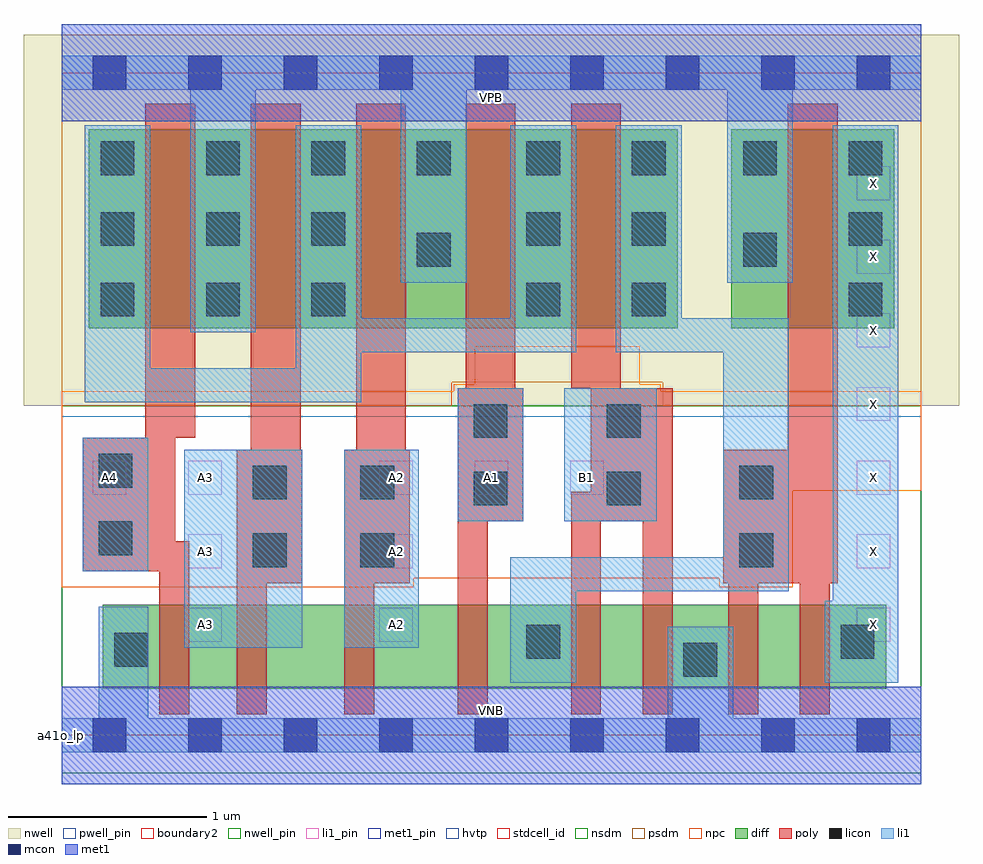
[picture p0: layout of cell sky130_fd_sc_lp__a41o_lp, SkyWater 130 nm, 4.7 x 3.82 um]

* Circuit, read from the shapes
.subckt sky130_fd_sc_lp__a41o_lp A1 A2 A3 A4 B1 VGND VNB VPB VPWR X
XM1 n1 A4 VGND VNB sky130_fd_pr__nfet_01v8 w=0.42 l=0.15
XM2 n2 A3 n1 VNB sky130_fd_pr__nfet_01v8 w=0.42 l=0.15
XM3 n3 A2 n2 VNB sky130_fd_pr__nfet_01v8 w=0.42 l=0.15
XM4 n4 A1 n3 VNB sky130_fd_pr__nfet_01v8 w=0.42 l=0.15
XM5 n5 B1 n4 VNB sky130_fd_pr__nfet_01v8 w=0.42 l=0.15
XM6 VGND B1 n5 VNB sky130_fd_pr__nfet_01v8 w=0.42 l=0.15
XM7 n6 n4 VGND VNB sky130_fd_pr__nfet_01v8 w=0.42 l=0.15
XM8 X n4 n6 VNB sky130_fd_pr__nfet_01v8 w=0.42 l=0.15
XM9 VPWR A4 n7 VPB sky130_fd_pr__pfet_01v8_hvt w=1 l=0.25
XM10 n7 A3 VPWR VPB sky130_fd_pr__pfet_01v8_hvt w=1 l=0.25
XM11 VPWR A2 n7 VPB sky130_fd_pr__pfet_01v8_hvt w=1 l=0.25
XM12 n7 A1 VPWR VPB sky130_fd_pr__pfet_01v8_hvt w=1 l=0.25
XM13 n4 B1 n7 VPB sky130_fd_pr__pfet_01v8_hvt w=1 l=0.25
XM14 X n4 VPWR VPB sky130_fd_pr__pfet_01v8_hvt w=1 l=0.25
.ends

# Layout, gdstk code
import gdstk
lib = gdstk.Library(unit=1e-6, precision=1e-09)
def R(c, l, rs):  # rectangles x0, y0, x1, y1
    for r in rs: c.add(gdstk.rectangle(r[:2], r[2:], *l))
def A(c, l, x, y, w, h, nx, ny, dx, dy):  # array of equal rectangles
    R(c, l, [(x+i*dx, y+j*dy, x+i*dx+w, y+j*dy+h) for i in range(nx) for j in range(ny)])
def P(c, l, *ps):  # polygons
    for p in ps: c.add(gdstk.Polygon(p, *l))
nwell_pin = (64, 16)
nwell = (64, 20)
diff = (65, 20)
poly = (66, 20)
licon = (66, 44)
li1_pin = (67, 16)
li1 = (67, 20)
mcon = (67, 44)
met1_pin = (68, 16)
met1 = (68, 20)
hvtp = (78, 44)
stdcell_id = (81, 4)
nsdm = (93, 44)
psdm = (94, 20)
npc = (95, 20)
pwell_pin = (122, 16)
boundary2 = (236, 0)

sky130_fd_sc_lp__a41o_lp = lib.new_cell('sky130_fd_sc_lp__a41o_lp')
R(sky130_fd_sc_lp__a41o_lp, nwell_pin, [(0,3.085,4.32,3.33)])
R(sky130_fd_sc_lp__a41o_lp, nwell, [(-0.19,1.655,4.51,3.52)])
R(sky130_fd_sc_lp__a41o_lp, diff, [(0.205,0.235,4.145,0.655), (0.135,2.045,3.095,3.045), (3.365,2.045,4.185,3.045)])
P(sky130_fd_sc_lp__a41o_lp, poly, [(0.67,3.175),(0.42,3.175),(0.42,1.495),(0.105,1.495),(0.105,0.825),(0.49,0.825),(0.49,0.105),(0.64,0.105),(0.64,0.975),(0.57,0.975),(0.57,1.495),(0.67,1.495)],
  [(1.21,1.435),(1.2,1.435),(1.2,3.175),(0.95,3.175),(0.95,1.435),(0.88,1.435),(0.88,0.105),(1.03,0.105),(1.03,0.765),(1.21,0.765)],
  [(1.75,1.435),(1.73,1.435),(1.73,3.175),(1.48,3.175),(1.48,1.435),(1.42,1.435),(1.42,0.105),(1.57,0.105),(1.57,0.765),(1.75,0.765)],
  [(2.32,1.745),(2.28,1.745),(2.28,3.175),(2.03,3.175),(2.03,1.745),(1.99,1.745),(1.99,0.105),(2.14,0.105),(2.14,1.075),(2.32,1.075)],
  [(3.07,1.745),(2.81,1.745),(2.81,3.175),(2.56,3.175),(2.56,1.745),(2.66,1.745),(2.66,1.225),(2.56,1.225),(2.56,0.105),(2.71,0.105),(2.71,1.075),(2.92,1.075),(2.92,0.105),(3.07,0.105)],
  [(3.9,3.175),(3.65,3.175),(3.65,1.435),(3.325,1.435),(3.325,0.765),(3.35,0.765),(3.35,0.105),(3.5,0.105),(3.5,0.765),(3.71,0.765),(3.71,0.105),(3.86,0.105),(3.86,0.765),(3.9,0.765)])
A(sky130_fd_sc_lp__a41o_lp, licon, 0.195, 2.105, 0.17, 0.17, 3, 2, 0.53, 0.355)
A(sky130_fd_sc_lp__a41o_lp, licon, 2.335, 2.105, 0.17, 0.17, 1, 3, 0, 0.355)
A(sky130_fd_sc_lp__a41o_lp, licon, 2.865, 2.105, 0.17, 0.17, 1, 3, 0, 0.355)
A(sky130_fd_sc_lp__a41o_lp, licon, 3.955, 2.105, 0.17, 0.17, 1, 3, 0, 0.355)
A(sky130_fd_sc_lp__a41o_lp, licon, 0.195, 2.815, 0.17, 0.17, 4, 1, 0.53, 0)
R(sky130_fd_sc_lp__a41o_lp, licon, [(3.125,0.295,3.295,0.465), (0.265,0.345,0.435,0.515), (2.335,0.385,2.505,0.555), (3.915,0.385,4.085,0.555), (0.96,0.845,1.13,1.015), (1.5,0.845,1.67,1.015), (3.405,0.845,3.575,1.015), (0.185,0.905,0.355,1.075), (2.07,1.155,2.24,1.325), (2.74,1.155,2.91,1.325), (0.96,1.185,1.13,1.355), (1.5,1.185,1.67,1.355), (3.405,1.185,3.575,1.355), (0.185,1.245,0.355,1.415), (2.07,1.495,2.24,1.665), (2.74,1.495,2.91,1.665), (1.785,2.355,1.955,2.525), (3.425,2.355,3.595,2.525), (3.425,2.815,3.595,2.985)])
A(sky130_fd_sc_lp__a41o_lp, li1_pin, 0.635, 0.47, 0.17, 0.17, 1, 3, 0, 0.37)
A(sky130_fd_sc_lp__a41o_lp, li1_pin, 3.995, 0.47, 0.17, 0.17, 1, 7, 0, 0.37)
A(sky130_fd_sc_lp__a41o_lp, li1_pin, 1.595, 1.21, 0.17, 0.17, 3, 1, 0.48, 0)
R(sky130_fd_sc_lp__a41o_lp, li1_pin, [(1.595,0.47,1.765,0.64), (1.595,0.84,1.765,1.01), (0.155,1.21,0.325,1.38)])
R(sky130_fd_sc_lp__a41o_lp, li1, [(0.615,0.44,1.21,1.435), (1.42,0.44,1.795,1.435), (0.105,0.825,0.435,1.495), (1.99,1.075,2.32,1.745), (2.525,1.075,2.99,1.745)])
P(sky130_fd_sc_lp__a41o_lp, li1, [(3.345,2.275),(3.345,3.245),(2.035,3.245),(2.035,2.275),(1.705,2.275),(1.705,3.245),(0.975,3.245),(0.975,2.025),(0.645,2.025),(0.645,3.245),(0,3.245),(0,3.415),(4.32,3.415),(4.32,3.245),(3.675,3.245),(3.675,2.275)],
  [(3.045,0.085),(3.045,0.545),(3.375,0.545),(3.375,0.085),(4.32,0.085),(4.32,-0.085),(0,-0.085),(0,0.085),(0.185,0.085),(0.185,0.645),(0.435,0.645),(0.435,0.085)],
  [(2.255,0.895),(3.325,0.895),(3.325,1.925),(2.785,1.925),(2.785,3.065),(3.115,3.065),(3.115,2.095),(3.655,2.095),(3.655,0.725),(2.585,0.725),(2.585,0.265),(2.255,0.265)],
  [(1.175,1.845),(1.175,3.065),(1.505,3.065),(1.505,2.095),(2.255,2.095),(2.255,3.065),(2.585,3.065),(2.585,1.925),(1.505,1.925),(1.505,1.675),(0.115,1.675),(0.115,3.065),(0.445,3.065),(0.445,1.845)],
  [(3.875,0.675),(3.875,3.065),(4.205,3.065),(4.205,0.265),(3.835,0.265),(3.835,0.675)])
A(sky130_fd_sc_lp__a41o_lp, mcon, 0.155, -0.085, 0.17, 0.17, 9, 2, 0.48, 3.33)
R(sky130_fd_sc_lp__a41o_lp, met1_pin, [(0,0,4.32,0.245), (0,3.085,4.32,3.33)])
R(sky130_fd_sc_lp__a41o_lp, met1, [(0,-0.245,4.32,0.245), (0,3.085,4.32,3.575)])
R(sky130_fd_sc_lp__a41o_lp, hvtp, [(0,1.6,4.32,3.33)])
R(sky130_fd_sc_lp__a41o_lp, stdcell_id, [(0,0,4.32,3.33)])
R(sky130_fd_sc_lp__a41o_lp, nsdm, [(0,-0.19,4.32,1.655)])
P(sky130_fd_sc_lp__a41o_lp, psdm, [(4.32,3.52),(0,3.52),(0,1.655),(1.96,1.655),(1.96,1.775),(3.02,1.775),(3.02,1.655),(4.32,1.655)])
P(sky130_fd_sc_lp__a41o_lp, npc, [(4.32,1.73),(3.01,1.73),(3.01,1.765),(2.905,1.765),(2.905,1.955),(2.075,1.955),(2.075,1.765),(1.97,1.765),(1.97,1.73),(0,1.73),(0,0.745),(1.77,0.745),(1.77,0.79),(3.305,0.79),(3.305,0.745),(3.675,0.745),(3.675,1.23),(4.32,1.23)])
R(sky130_fd_sc_lp__a41o_lp, pwell_pin, [(0,0,4.32,0.245)])
R(sky130_fd_sc_lp__a41o_lp, boundary2, [(0,0,4.32,3.33)])
sky130_fd_sc_lp__a41o_lp.add(gdstk.Label('VNB', (2.16,0.123), layer=64, texttype=59))
sky130_fd_sc_lp__a41o_lp.add(gdstk.Label('VPB', (2.16,3.208), layer=64, texttype=5))
sky130_fd_sc_lp__a41o_lp.add(gdstk.Label('a41o_lp', (0,0), layer=83, texttype=44))
sky130_fd_sc_lp__a41o_lp.add(gdstk.Label('VPWR', (2.16,3.208), layer=68, texttype=5))
sky130_fd_sc_lp__a41o_lp.add(gdstk.Label('VGND', (2.16,0.123), layer=68, texttype=5))
sky130_fd_sc_lp__a41o_lp.add(gdstk.Label('B1', (2.64,1.295), layer=67, texttype=5))
sky130_fd_sc_lp__a41o_lp.add(gdstk.Label('A4', (0.24,1.295), layer=67, texttype=5))
sky130_fd_sc_lp__a41o_lp.add(gdstk.Label('A3', (0.72,0.555), layer=67, texttype=5))
sky130_fd_sc_lp__a41o_lp.add(gdstk.Label('A3', (0.72,0.925), layer=67, texttype=5))
sky130_fd_sc_lp__a41o_lp.add(gdstk.Label('A3', (0.72,1.295), layer=67, texttype=5))
sky130_fd_sc_lp__a41o_lp.add(gdstk.Label('A2', (1.68,0.555), layer=67, texttype=5))
sky130_fd_sc_lp__a41o_lp.add(gdstk.Label('A2', (1.68,0.925), layer=67, texttype=5))
sky130_fd_sc_lp__a41o_lp.add(gdstk.Label('A2', (1.68,1.295), layer=67, texttype=5))
sky130_fd_sc_lp__a41o_lp.add(gdstk.Label('X', (4.08,0.555), layer=67, texttype=5))
sky130_fd_sc_lp__a41o_lp.add(gdstk.Label('X', (4.08,0.925), layer=67, texttype=5))
sky130_fd_sc_lp__a41o_lp.add(gdstk.Label('X', (4.08,1.295), layer=67, texttype=5))
sky130_fd_sc_lp__a41o_lp.add(gdstk.Label('X', (4.08,1.665), layer=67, texttype=5))
sky130_fd_sc_lp__a41o_lp.add(gdstk.Label('X', (4.08,2.035), layer=67, texttype=5))
sky130_fd_sc_lp__a41o_lp.add(gdstk.Label('X', (4.08,2.405), layer=67, texttype=5))
sky130_fd_sc_lp__a41o_lp.add(gdstk.Label('X', (4.08,2.775), layer=67, texttype=5))
sky130_fd_sc_lp__a41o_lp.add(gdstk.Label('A1', (2.16,1.295), layer=67, texttype=5))

lib.write_gds('sky130_fd_sc_lp__a41o_lp.gds')
